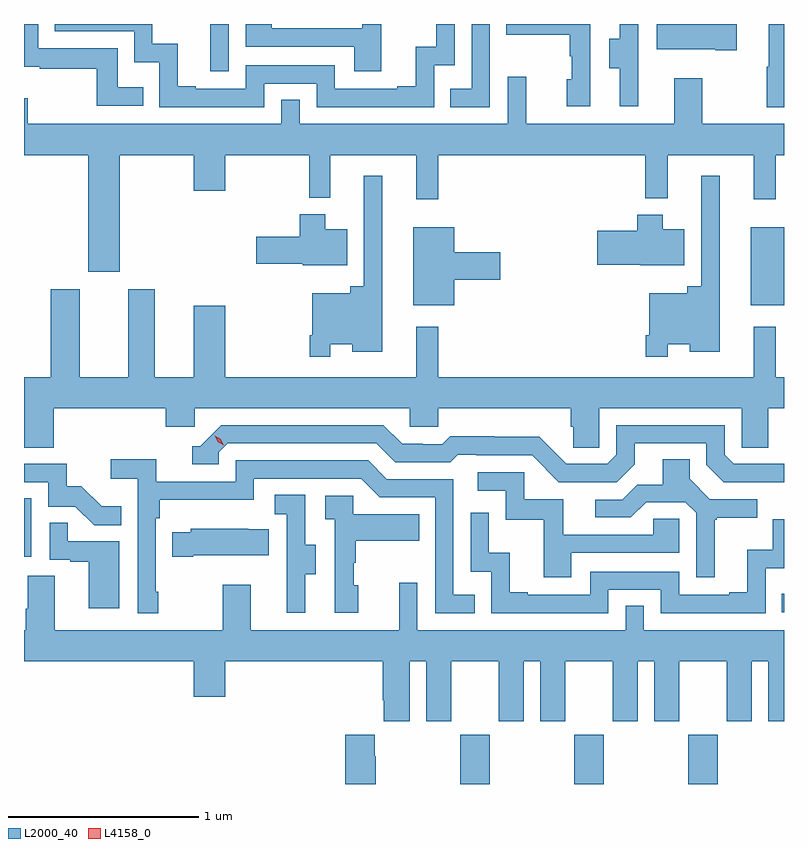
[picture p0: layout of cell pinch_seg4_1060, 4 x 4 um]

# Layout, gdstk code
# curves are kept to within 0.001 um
import gdstk
lib = gdstk.Library(unit=1e-6, precision=1e-09)
def R(c, l, rs):  # rectangles x0, y0, x1, y1
    for r in rs: c.add(gdstk.rectangle(r[:2], r[2:], *l))
def A(c, l, x, y, w, h, nx, ny, dx, dy):  # array of equal rectangles
    R(c, l, [(x+i*dx, y+j*dy, x+i*dx+w, y+j*dy+h) for i in range(nx) for j in range(ny)])
def P(c, l, *ps):  # polygons
    for p in ps: c.add(gdstk.Polygon(p, *l))
L2000_40 = (2000, 40)
L4158_0 = (4158, 0)

pinch_seg4_1060 = lib.new_cell('pinch_seg4_1060')
A(pinch_seg4_1060, L2000_40, 885.691, 765.538, 0.155, 0.258, 3, 1, 0.6, 0)
R(pinch_seg4_1060, L2000_40, [(887.383,766.443,887.394,766.54), (883.394,766.734,883.432,767.041), (887.219,768.059,887.394,768.469), (884.375,769.29,884.472,769.538)])
P(pinch_seg4_1060, L2000_40, [(885.846,769.538),(885.75,769.538),(885.75,769.197),(885.637,769.197),(885.637,769.101),(885.846,769.101)],
  [(887.146,769.538),(886.723,769.538),(886.723,769.406),(887.033,769.406),(887.033,769.399),(887.146,769.399)],
  [(884.021,769.204),(883.887,769.204),(883.887,769.41),(883.47,769.41),(883.47,769.538),(883.394,769.538),(883.394,769.313),(883.477,769.313),(883.477,769.302),(883.776,769.302),(883.776,769.107),(884.021,769.107)],
  [(885.275,769.538),(885.173,769.538),(885.173,769.515),(884.699,769.515),(884.699,769.538),(884.562,769.538),(884.562,769.419),(885.131,769.419),(885.131,769.29),(885.275,769.29)],
  [(886.374,769.538),(885.931,769.538),(885.931,769.481),(886.266,769.481),(886.266,769.367),(886.276,769.367),(886.276,769.248),(886.25,769.248),(886.25,769.104),(886.374,769.104)],
  [(887.394,769.538),(887.315,769.538),(887.315,769.313),(887.304,769.313),(887.304,769.101),(887.394,769.101)],
  [(886.628,769.317),(886.626,769.317),(886.626,769.538),(886.53,769.538),(886.53,769.461),(886.475,769.461),(886.475,769.306),(886.529,769.306),(886.529,769.104),(886.628,769.104)],
  [(884.658,769.224),(884.934,769.224),(884.934,769.101),(885.552,769.101),(885.552,769.32),(885.66,769.32),(885.66,769.538),(885.564,769.538),(885.564,769.418),(885.455,769.418),(885.455,769.21),(885.359,769.21),(885.359,769.197),(885.03,769.197),(885.03,769.32),(884.562,769.32),(884.562,769.197),(884.299,769.197),(884.299,769.21),(884.203,769.21),(884.203,769.435),(884.07,769.435),(884.07,769.538),(883.555,769.538),(883.555,769.5),(883.974,769.5),(883.974,769.337),(884.106,769.337),(884.106,769.101),(884.658,769.101)],
  [(883.897,768.848),(884.288,768.848),(884.288,768.66),(884.452,768.66),(884.452,768.848),(884.895,768.848),(884.895,768.623),(885.005,768.623),(885.005,768.848),(885.458,768.848),(885.458,768.615),(885.575,768.615),(885.575,768.848),(886.663,768.848),(886.663,768.62),(886.781,768.62),(886.781,768.848),(887.234,768.848),(887.234,768.615),(887.351,768.615),(887.351,768.848),(887.394,768.848),(887.394,769.012),(886.965,769.012),(886.965,769.252),(886.817,769.252),(886.817,769.012),(886.037,769.012),(886.037,769.261),(885.939,769.261),(885.939,769.012),(884.844,769.012),(884.844,769.139),(884.748,769.139),(884.748,769.012),(883.413,769.012),(883.413,769.147),(883.394,769.147),(883.394,768.848),(883.733,768.848),(883.733,768.234),(883.897,768.234)],
  [(885.006,767.852),(885.122,767.852),(885.122,767.813),(885.28,767.813),(885.28,768.739),(885.183,768.739),(885.183,768.157),(885.11,768.157),(885.11,768.121),(884.91,768.121),(884.91,767.899),(884.898,767.899),(884.898,767.787),(885.006,767.787)],
  [(886.782,767.852),(886.898,767.852),(886.898,767.813),(887.056,767.813),(887.056,768.739),(886.959,768.739),(886.959,768.157),(886.886,768.157),(886.886,768.121),(886.686,768.121),(886.686,767.899),(886.666,767.899),(886.666,767.787),(886.782,767.787)],
  [(885.094,768.457),(884.98,768.457),(884.98,768.538),(884.846,768.538),(884.846,768.417),(884.616,768.417),(884.616,768.275),(884.862,768.275),(884.862,768.269),(885.094,768.269)],
  [(886.87,768.457),(886.756,768.457),(886.756,768.535),(886.622,768.535),(886.622,768.45),(886.41,768.45),(886.41,768.272),(886.638,768.272),(886.638,768.269),(886.87,768.269)],
  [(885.658,768.191),(885.901,768.191),(885.901,768.338),(885.658,768.338),(885.658,768.469),(885.443,768.469),(885.443,768.059),(885.658,768.059)],
  [(883.55,767.516),(884.141,767.516),(884.141,767.418),(884.292,767.418),(884.292,767.516),(885.423,767.516),(885.423,767.418),(885.573,767.418),(885.573,767.516),(886.271,767.516),(886.271,767.418),(886.285,767.418),(886.285,767.308),(886.422,767.308),(886.422,767.516),(887.172,767.516),(887.172,767.308),(887.311,767.308),(887.311,767.516),(887.394,767.516),(887.394,767.68),(887.351,767.68),(887.351,767.944),(887.234,767.944),(887.234,767.68),(885.575,767.68),(885.575,767.944),(885.458,767.944),(885.458,767.68),(884.452,767.68),(884.452,768.055),(884.288,768.055),(884.288,767.68),(884.083,767.68),(884.083,768.142),(883.943,768.142),(883.943,767.68),(883.687,767.68),(883.687,768.142),(883.535,768.142),(883.535,767.68),(883.394,767.68),(883.394,767.308),(883.55,767.308)],
  [(887.394,767.223),(887.13,767.223),(887.082,767.271),(887.082,767.427),(886.512,767.427),(886.512,767.271),(886.464,767.223),(886.248,767.223),(886.106,767.365),(885.87,767.365),(885.87,767.368),(885.637,767.368),(885.595,767.325),(885.492,767.325),(885.492,767.328),(885.385,767.328),(885.286,767.427),(884.433,767.427),(884.322,767.316),(884.279,767.316),(884.279,767.22),(884.418,767.22),(884.418,767.283),(884.466,767.331),(885.249,767.331),(885.348,767.232),(885.637,767.232),(885.676,767.271),(885.775,767.271),(885.775,767.268),(886.068,767.268),(886.209,767.127),(886.515,767.127),(886.609,767.221),(886.609,767.331),(886.986,767.331),(886.986,767.217),(887.076,767.127),(887.394,767.126)],
  [(884.101,766.549),(884.088,766.549),(884.088,766.937),(884.108,766.937),(884.108,767.033),(884.604,767.033),(884.604,767.145),(885.168,767.145),(885.267,767.046),(885.558,767.046),(885.558,766.437),(885.767,766.437),(885.767,766.533),(885.654,766.533),(885.654,767.142),(885.304,767.142),(885.205,767.241),(884.508,767.241),(884.508,767.13),(884.09,767.13),(884.09,767.246),(883.851,767.246),(883.851,767.144),(883.992,767.144),(883.992,766.437),(884.101,766.437)],
  [(887.029,766.929),(887.041,766.929),(887.041,766.94),(887.254,766.94),(887.254,767.037),(887.004,767.037),(886.897,767.144),(886.897,767.246),(886.757,767.246),(886.757,767.114),(886.622,767.114),(886.542,767.034),(886.401,767.034),(886.401,766.941),(886.588,766.941),(886.669,767.022),(886.875,767.022),(886.932,766.965),(886.932,766.626),(887.029,766.626)],
  [(883.907,766.999),(883.803,766.999),(883.696,767.106),(883.62,767.106),(883.62,767.223),(883.394,767.223),(883.394,767.127),(883.521,767.127),(883.521,766.998),(883.665,766.998),(883.763,766.9),(883.907,766.9)],
  [(886.273,766.755),(886.842,766.755),(886.842,766.935),(886.705,766.935),(886.705,766.851),(886.231,766.851),(886.231,767.037),(886.026,767.037),(886.026,767.178),(885.783,767.178),(885.783,767.082),(885.93,767.082),(885.93,766.929),(886.129,766.929),(886.129,766.626),(886.273,766.626)],
  [(884.875,766.642),(884.929,766.642),(884.929,766.797),(884.874,766.797),(884.874,767.06),(884.715,767.06),(884.715,766.957),(884.778,766.957),(884.778,766.653),(884.777,766.653),(884.777,766.44),(884.875,766.44)],
  [(885.154,766.584),(885.129,766.584),(885.129,766.703),(885.139,766.703),(885.139,766.817),(885.473,766.817),(885.473,766.957),(885.126,766.957),(885.126,767.055),(884.979,767.055),(884.979,766.931),(885.03,766.931),(885.03,766.44),(885.154,766.44)],
  [(886.47,766.56),(886.746,766.56),(886.746,766.437),(887.298,766.437),(887.298,766.673),(887.394,766.673),(887.394,766.932),(887.334,766.932),(887.334,766.771),(887.201,766.771),(887.201,766.546),(887.105,766.546),(887.105,766.533),(886.842,766.533),(886.842,766.656),(886.374,766.656),(886.374,766.533),(886.045,766.533),(886.045,766.546),(885.95,766.546),(885.95,766.754),(885.84,766.754),(885.84,766.966),(885.744,766.966),(885.744,766.656),(885.852,766.656),(885.852,766.437),(886.47,766.437)],
  [(883.894,766.815),(883.625,766.815),(883.625,766.913),(883.53,766.913),(883.53,766.719),(883.637,766.719),(883.637,766.707),(883.736,766.707),(883.736,766.464),(883.894,766.464)],
  [(884.284,766.742),(884.681,766.742),(884.681,766.879),(884.573,766.879),(884.573,766.882),(884.271,766.882),(884.271,766.864),(884.173,766.864),(884.173,766.735),(884.284,766.735)],
  [(886.56,766.348),(885.465,766.348),(885.465,766.597),(885.368,766.597),(885.368,766.348),(884.587,766.348),(884.587,766.588),(884.44,766.588),(884.44,766.348),(883.555,766.348),(883.555,766.634),(883.415,766.634),(883.415,766.46),(883.403,766.46),(883.403,766.348),(883.394,766.348),(883.394,766.184),(884.288,766.184),(884.288,765.996),(884.452,765.996),(884.452,766.184),(885.281,766.184),(885.281,765.979),(885.287,765.979),(885.287,765.867),(885.424,765.867),(885.424,766.184),(885.512,766.184),(885.512,765.867),(885.643,765.867),(885.643,766.184),(885.893,766.184),(885.893,765.867),(886.024,765.867),(886.024,766.184),(886.112,766.184),(886.112,765.867),(886.243,765.867),(886.243,766.184),(886.493,766.184),(886.493,765.867),(886.624,765.867),(886.624,766.184),(886.712,766.184),(886.712,765.867),(886.843,765.867),(886.843,766.184),(887.093,766.184),(887.093,765.867),(887.224,765.867),(887.224,766.184),(887.312,766.184),(887.312,765.867),(887.394,765.867),(887.394,766.348),(886.656,766.348),(886.656,766.475),(886.56,766.475)],
  [(885.246,765.683),(885.241,765.683),(885.241,765.796),(885.086,765.796),(885.086,765.538),(885.246,765.538)])
P(pinch_seg4_1060, L4158_0, [(884.444,767.32),(884.414,767.339),(884.398,767.372),(884.398,767.372),(884.398,767.372),(884.429,767.353),(884.445,767.32),(884.445,767.32)])

lib.write_gds('pinch_seg4_1060.gds')
